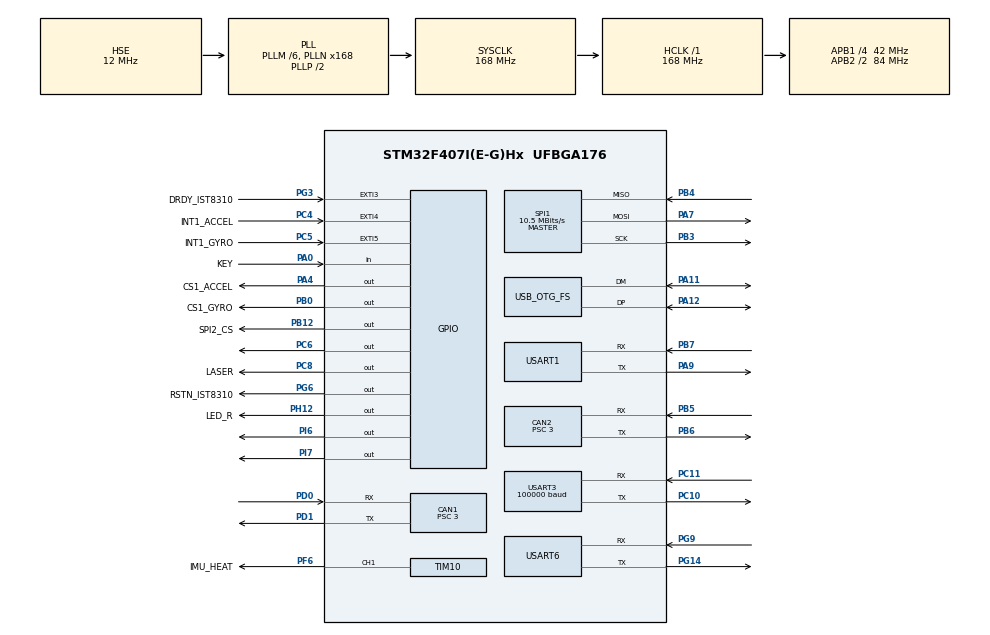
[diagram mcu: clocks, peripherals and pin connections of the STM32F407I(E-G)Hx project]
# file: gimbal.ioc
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CAN1.ABOM=ENABLE
CAN1.BS1=CAN_BS1_10TQ
CAN1.BS2=CAN_BS2_3TQ
CAN1.CalculateBaudRate=1000000
CAN1.CalculateTimeBit=1000
CAN1.CalculateTimeQuantum=71.42857142857143
CAN1.Prescaler=3
CAN2.ABOM=ENABLE
CAN2.BS1=CAN_BS1_10TQ
CAN2.BS2=CAN_BS2_3TQ
CAN2.CalculateBaudRate=1000000
CAN2.CalculateTimeBit=1000
CAN2.CalculateTimeQuantum=71.42857142857143
CAN2.Prescaler=3
Dma.Request0=SPI1_RX
Dma.Request1=SPI1_TX
Dma.Request2=USART3_RX
Dma.Request3=USART6_RX
Dma.Request4=USART6_TX
Dma.Request5=USART1_RX
Dma.Request6=USART1_TX
Dma.SPI1_RX.0.Direction=DMA_PERIPH_TO_MEMORY
Dma.SPI1_RX.0.FIFOMode=DMA_FIFOMODE_DISABLE
Dma.SPI1_RX.0.Instance=DMA2_Stream0
Dma.SPI1_RX.0.MemDataAlignment=DMA_MDATAALIGN_BYTE
Dma.SPI1_RX.0.MemInc=DMA_MINC_ENABLE
Dma.SPI1_RX.0.Mode=DMA_NORMAL
Dma.SPI1_RX.0.PeriphDataAlignment=DMA_PDATAALIGN_BYTE
Dma.SPI1_RX.0.PeriphInc=DMA_PINC_DISABLE
Dma.SPI1_RX.0.Priority=DMA_PRIORITY_VERY_HIGH
Dma.SPI1_TX.1.Direction=DMA_MEMORY_TO_PERIPH
Dma.SPI1_TX.1.FIFOMode=DMA_FIFOMODE_DISABLE
Dma.SPI1_TX.1.Instance=DMA2_Stream3
Dma.SPI1_TX.1.MemDataAlignment=DMA_MDATAALIGN_BYTE
Dma.SPI1_TX.1.MemInc=DMA_MINC_ENABLE
Dma.SPI1_TX.1.Mode=DMA_NORMAL
Dma.SPI1_TX.1.PeriphDataAlignment=DMA_PDATAALIGN_BYTE
Dma.SPI1_TX.1.PeriphInc=DMA_PINC_DISABLE
Dma.SPI1_TX.1.Priority=DMA_PRIORITY_HIGH
Dma.USART1_RX.5.Direction=DMA_PERIPH_TO_MEMORY
Dma.USART1_RX.5.FIFOMode=DMA_FIFOMODE_DISABLE
Dma.USART1_RX.5.Instance=DMA2_Stream2
Dma.USART1_RX.5.MemDataAlignment=DMA_MDATAALIGN_BYTE
Dma.USART1_RX.5.MemInc=DMA_MINC_ENABLE
Dma.USART1_RX.5.Mode=DMA_CIRCULAR
Dma.USART1_RX.5.PeriphDataAlignment=DMA_PDATAALIGN_BYTE
Dma.USART1_RX.5.PeriphInc=DMA_PINC_DISABLE
Dma.USART1_RX.5.Priority=DMA_PRIORITY_HIGH
Dma.USART1_TX.6.Direction=DMA_MEMORY_TO_PERIPH
Dma.USART1_TX.6.FIFOMode=DMA_FIFOMODE_DISABLE
Dma.USART1_TX.6.Instance=DMA2_Stream7
Dma.USART1_TX.6.MemDataAlignment=DMA_MDATAALIGN_BYTE
Dma.USART1_TX.6.MemInc=DMA_MINC_ENABLE
Dma.USART1_TX.6.Mode=DMA_NORMAL
Dma.USART1_TX.6.PeriphDataAlignment=DMA_PDATAALIGN_BYTE
Dma.USART1_TX.6.PeriphInc=DMA_PINC_DISABLE
Dma.USART1_TX.6.Priority=DMA_PRIORITY_HIGH
Dma.USART3_RX.2.Direction=DMA_PERIPH_TO_MEMORY
Dma.USART3_RX.2.FIFOMode=DMA_FIFOMODE_DISABLE
Dma.USART3_RX.2.Instance=DMA1_Stream1
Dma.USART3_RX.2.MemDataAlignment=DMA_MDATAALIGN_BYTE
Dma.USART3_RX.2.MemInc=DMA_MINC_ENABLE
Dma.USART3_RX.2.Mode=DMA_NORMAL
Dma.USART3_RX.2.PeriphDataAlignment=DMA_PDATAALIGN_BYTE
Dma.USART3_RX.2.PeriphInc=DMA_PINC_DISABLE
Dma.USART3_RX.2.Priority=DMA_PRIORITY_LOW
Dma.USART6_RX.3.Direction=DMA_PERIPH_TO_MEMORY
Dma.USART6_RX.3.FIFOMode=DMA_FIFOMODE_DISABLE
Dma.USART6_RX.3.Instance=DMA2_Stream1
Dma.USART6_RX.3.MemDataAlignment=DMA_MDATAALIGN_BYTE
Dma.USART6_RX.3.MemInc=DMA_MINC_ENABLE
Dma.USART6_RX.3.Mode=DMA_NORMAL
Dma.USART6_RX.3.PeriphDataAlignment=DMA_PDATAALIGN_BYTE
Dma.USART6_RX.3.PeriphInc=DMA_PINC_DISABLE
Dma.USART6_RX.3.Priority=DMA_PRIORITY_VERY_HIGH
Dma.USART6_TX.4.Direction=DMA_MEMORY_TO_PERIPH
Dma.USART6_TX.4.FIFOMode=DMA_FIFOMODE_DISABLE
Dma.USART6_TX.4.Instance=DMA2_Stream6
Dma.USART6_TX.4.MemDataAlignment=DMA_MDATAALIGN_BYTE
Dma.USART6_TX.4.MemInc=DMA_MINC_ENABLE
Dma.USART6_TX.4.Mode=DMA_NORMAL
Dma.USART6_TX.4.PeriphDataAlignment=DMA_PDATAALIGN_BYTE
Dma.USART6_TX.4.PeriphInc=DMA_PINC_DISABLE
Dma.USART6_TX.4.Priority=DMA_PRIORITY_VERY_HIGH
FREERTOS.INCLUDE_eTaskGetState=0
FREERTOS.INCLUDE_pcTaskGetTaskName=0
FREERTOS.INCLUDE_uxTaskGetStackHighWaterMark=1
FREERTOS.INCLUDE_vTaskCleanUpResources=0
FREERTOS.INCLUDE_vTaskDelayUntil=0
FREERTOS.INCLUDE_xEventGroupSetBitFromISR=0
FREERTOS.INCLUDE_xQueueGetMutexHolder=0
FREERTOS.INCLUDE_xSemaphoreGetMutexHolder=0
FREERTOS.INCLUDE_xTaskAbortDelay=0
FREERTOS.INCLUDE_xTaskGetCurrentTaskHandle=0
FREERTOS.INCLUDE_xTaskGetHandle=0
FREERTOS.INCLUDE_xTimerPendFunctionCall=0
FREERTOS.Tasks01=gimbalTask,2,1024,gimbal_task,As weak,NULL,Dynamic,NULL,NULL;INSTask,1,1024,StartINSTask,Default,NULL,Dynamic,NULL,NULL;chassisTask,1,512,chassis_task,As weak,NULL,Dynamic,NULL,NULL;current_send,1,256,send_current_task,As weak,NULL,Dynamic,NULL,NULL;REFEREETask,1,1024,REFEREE_Task,As weak,NULL,Dynamic,NULL,NULL;tirggertask,1,512,tirgger_task,As weak,NULL,Dynamic,NULL,NULL;detect_task,1,256,DETECT_task,As weak,NULL,Dynamic,NULL,NULL;VOFATask,1,256,StartVOFATask,As weak,NULL,Dynamic,NULL,NULL;myTask09,1,512,Transmit_Data_Task,As weak,NULL,Dynamic,NULL,NULL;UI_TASK,1,1024,UI_Task,As weak,NULL,Dynamic,NULL,NULL;NavigationTask,1,512,navigation_task,As weak,NULL,Dynamic,NULL,NULL
FREERTOS.configTOTAL_HEAP_SIZE=29000
FREERTOS.configUSE_STATS_FORMATTING_FUNCTIONS=1
FREERTOS.configUSE_TIMERS=0
FREERTOS.configUSE_TRACE_FACILITY=1
Mcu.Family=STM32F4
Mcu.Name=STM32F407I(E-G)Hx
Mcu.Package=UFBGA176
NVIC.CAN1_RX0_IRQn=true\:5\:0\:false\:false\:true\:true\:true\:true\:true
NVIC.CAN1_TX_IRQn=true\:5\:0\:false\:false\:true\:true\:true\:true\:true
NVIC.CAN2_RX1_IRQn=true\:5\:0\:false\:false\:true\:true\:true\:true\:true
NVIC.CAN2_TX_IRQn=true\:5\:0\:false\:false\:true\:true\:true\:true\:true
NVIC.DMA1_Stream1_IRQn=true\:5\:0\:false\:false\:true\:true\:false\:true\:true
NVIC.DMA2_Stream0_IRQn=true\:5\:0\:false\:false\:true\:true\:false\:true\:true
NVIC.DMA2_Stream1_IRQn=true\:5\:0\:false\:false\:true\:true\:false\:true\:true
NVIC.DMA2_Stream2_IRQn=true\:5\:0\:false\:false\:true\:true\:false\:true\:true
NVIC.DMA2_Stream3_IRQn=true\:5\:0\:false\:false\:true\:true\:false\:true\:true
NVIC.DMA2_Stream6_IRQn=true\:5\:0\:false\:false\:true\:true\:false\:true\:true
NVIC.DMA2_Stream7_IRQn=true\:5\:0\:false\:false\:true\:true\:false\:true\:true
NVIC.EXTI3_IRQn=true\:5\:0\:false\:false\:true\:true\:true\:true\:true
NVIC.EXTI4_IRQn=true\:5\:0\:false\:false\:true\:true\:true\:true\:true
NVIC.EXTI9_5_IRQn=true\:5\:0\:false\:false\:true\:true\:true\:true\:true
NVIC.OTG_FS_IRQn=true\:5\:0\:false\:false\:true\:true\:false\:true\:true
NVIC.PriorityGroup=NVIC_PRIORITYGROUP_4
NVIC.TIM2_IRQn=true\:15\:0\:false\:false\:true\:false\:false\:true\:true
NVIC.TimeBase=TIM2_IRQn
NVIC.TimeBaseIP=TIM2
NVIC.USART1_IRQn=true\:5\:0\:false\:false\:true\:true\:true\:true\:true
NVIC.USART3_IRQn=true\:5\:0\:false\:false\:false\:true\:true\:true\:true
NVIC.USART6_IRQn=true\:5\:0\:false\:false\:false\:true\:true\:true\:true
PA0-WKUP.GPIO_Label=KEY
PA0-WKUP.GPIO_PuPd=GPIO_PULLUP
PA0-WKUP.Signal=GPIO_Input
PA11.Mode=Device_Only
PA11.Signal=USB_OTG_FS_DM
PA12.Mode=Device_Only
PA12.Signal=USB_OTG_FS_DP
PA13.Mode=Serial_Wire
PA13.Signal=SYS_JTMS-SWDIO
PA14.Mode=Serial_Wire
PA14.Signal=SYS_JTCK-SWCLK
PA4.GPIO_Label=CS1_ACCEL
PA4.GPIO_ModeDefaultOutputPP=GPIO_MODE_OUTPUT_PP
PA4.GPIO_PuPd=GPIO_PULLUP
PA4.GPIO_Speed=GPIO_SPEED_FREQ_HIGH
PA4.PinState=GPIO_PIN_SET
PA4.Signal=GPIO_Output
PA7.GPIO_PuPd=GPIO_PULLUP
PA7.Mode=Full_Duplex_Master
PA7.Signal=SPI1_MOSI
PA9.Mode=Asynchronous
PA9.Signal=USART1_TX
PB0.GPIO_Label=CS1_GYRO
PB0.GPIO_PuPd=GPIO_PULLUP
PB0.GPIO_Speed=GPIO_SPEED_FREQ_HIGH
PB0.PinState=GPIO_PIN_SET
PB0.Signal=GPIO_Output
PB12.GPIO_Label=SPI2_CS
PB12.GPIO_PuPd=GPIO_PULLUP
PB12.GPIO_Speed=GPIO_SPEED_FREQ_MEDIUM
PB12.PinState=GPIO_PIN_SET
PB12.Signal=GPIO_Output
PB3.GPIO_PuPd=GPIO_PULLUP
PB3.Mode=Full_Duplex_Master
PB3.Signal=SPI1_SCK
PB4.GPIO_PuPd=GPIO_PULLUP
PB4.Mode=Full_Duplex_Master
PB4.Signal=SPI1_MISO
PB5.Mode=CAN_Activate
PB5.Signal=CAN2_RX
PB6.Mode=CAN_Activate
PB6.Signal=CAN2_TX
PB7.Mode=Asynchronous
PB7.Signal=USART1_RX
PC10.Mode=Asynchronous
PC10.Signal=USART3_TX
PC11.Mode=Asynchronous
PC11.Signal=USART3_RX
PC4.GPIO_Label=INT1_ACCEL
PC4.GPIO_PuPd=GPIO_PULLUP
PC4.Signal=GPXTI4
PC5.GPIO_Label=INT1_GYRO
PC5.GPIO_PuPd=GPIO_PULLUP
PC5.Signal=GPXTI5
PC6.PinState=GPIO_PIN_SET
PC6.Signal=GPIO_Output
PC8.GPIO_Label=LASER
PC8.Signal=GPIO_Output
PD0.Mode=CAN_Activate
PD0.Signal=CAN1_RX
PD1.Mode=CAN_Activate
PD1.Signal=CAN1_TX
PF6.GPIO_Label=IMU_HEAT
PF6.GPIO_PuPd=GPIO_PULLUP
PF6.GPIO_Speed=GPIO_SPEED_FREQ_HIGH
PF6.Signal=S_TIM10_CH1
PG14.Mode=Asynchronous
PG14.Signal=USART6_TX
PG3.GPIO_Label=DRDY_IST8310
PG3.GPIO_PuPd=GPIO_PULLUP
PG3.Signal=GPXTI3
PG6.GPIO_Label=RSTN_IST8310
PG6.GPIO_PuPd=GPIO_PULLUP
PG6.GPIO_Speed=GPIO_SPEED_FREQ_MEDIUM
PG6.PinState=GPIO_PIN_SET
PG6.Signal=GPIO_Output
PG9.Mode=Asynchronous
PG9.Signal=USART6_RX
PH0-OSC_IN.Mode=HSE-External-Oscillator
PH0-OSC_IN.Signal=RCC_OSC_IN
PH1-OSC_OUT.Mode=HSE-External-Oscillator
PH1-OSC_OUT.Signal=RCC_OSC_OUT
PH12.GPIO_Label=LED_R
PH12.Signal=GPIO_Output
PI6.GPIO_PuPd=GPIO_PULLUP
PI6.GPIO_Speed=GPIO_SPEED_FREQ_HIGH
PI6.PinState=GPIO_PIN_SET
PI6.Signal=GPIO_Output
PI7.GPIO_PuPd=GPIO_PULLUP
PI7.PinState=GPIO_PIN_SET
PI7.Signal=GPIO_Output
ProjectManager.HeapSize=0x2000
ProjectManager.StackSize=0x2000
ProjectManager.TargetToolchain=MDK-ARM V5
RCC.48MHZClocksFreq_Value=48000000
RCC.AHBFreq_Value=168000000
RCC.APB1CLKDivider=RCC_HCLK_DIV4
RCC.APB1Freq_Value=42000000
RCC.APB1TimFreq_Value=84000000
RCC.APB2CLKDivider=RCC_HCLK_DIV2
RCC.APB2Freq_Value=84000000
RCC.APB2TimFreq_Value=168000000
RCC.CortexFreq_Value=168000000
RCC.HCLKFreq_Value=168000000
RCC.HSE_VALUE=12000000
RCC.HSI_VALUE=16000000
RCC.LSE_VALUE=32768
RCC.PLLM=6
RCC.PLLN=168
RCC.PLLQ=7
RCC.RCC_RTC_Clock_SourceVirtual=RCC_RTCCLKSOURCE_HSE_DIV30
RCC.RCC_RTC_Clock_Source_FROM_HSE=RCC_RTCCLKSOURCE_HSE_DIV30
RCC.SYSCLKFreq_VALUE=168000000
RCC.SYSCLKSource=RCC_SYSCLKSOURCE_PLLCLK
RCC.VCOOutputFreq_Value=336000000
RTC.AsynchPrediv=124
RTC.SynchPrediv=3199
SH.S_TIM10_CH1.0=TIM10_CH1,PWM Generation1 CH1
SPI1.BaudRatePrescaler=SPI_BAUDRATEPRESCALER_8
SPI1.CLKPhase=SPI_PHASE_2EDGE
SPI1.CLKPolarity=SPI_POLARITY_HIGH
SPI1.CalculateBaudRate=10.5 MBits/s
SPI1.Direction=SPI_DIRECTION_2LINES
SPI1.Mode=SPI_MODE_MASTER
SPI1.VirtualType=VM_MASTER
TIM10.Channel=TIM_CHANNEL_1
TIM10.Period=1999
TIM10.Prescaler=83
USART1.VirtualMode=VM_ASYNC
USART3.BaudRate=100000
USART3.Parity=PARITY_EVEN
USART3.VirtualMode=VM_ASYNC
USART6.VirtualMode=VM_ASYNC
USB_DEVICE.CLASS_NAME_FS=CDC
USB_DEVICE.VirtualMode-CDC_FS=Cdc
USB_DEVICE.VirtualModeFS=Cdc_FS
USB_OTG_FS.VirtualMode=Device_Only
VP_FREERTOS_VS_CMSIS_V1.Mode=CMSIS_V1
VP_RTC_VS_RTC_Activate.Mode=RTC_Enabled
VP_SYS_VS_tim2.Mode=TIM2
VP_TIM10_VS_ClockSourceINT.Mode=Enable_Timer
VP_USB_DEVICE_VS_USB_DEVICE_CDC_FS.Mode=CDC_FS
board=custom

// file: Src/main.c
/* USER CODE BEGIN Header */
/**
  ******************************************************************************
  * @file           : main.c
  * @brief          : Main program body
  ******************************************************************************
  * @attention
  *
  * Copyright (c) 2025 STMicroelectronics.
  * All rights reserved.
  *
  * This software is licensed under terms that can be found in the LICENSE file
  * in the root directory of this software component.
  * If no LICENSE file comes with this software, it is provided AS-IS.
  *
  ******************************************************************************
  */
/* USER CODE END Header */
#include "main.h"
#include "cmsis_os.h"
#include "can.h"
#include "dma.h"
#include "rtc.h"
#include "spi.h"
#include "tim.h"
#include "usart.h"
#include "usb_device.h"
#include "gpio.h"

/* USER CODE BEGIN Includes */
#include "BMI088driver.h"
#include "bsp_dwt.h"
#include "arm_math.h"
#include "bsp_can.h"
#include "CAN_receive.h"
/* USER CODE END Includes */

void SystemClock_Config(void);
void MX_FREERTOS_Init(void);

int main(void)
{

  /* MCU Configuration--------------------------------------------------------*/

  /* Reset of all peripherals, Initializes the Flash interface and the Systick. */
  HAL_Init();

  /* Configure the system clock */
  SystemClock_Config();

  /* Initialize all configured peripherals */
  MX_GPIO_Init();
  MX_DMA_Init();
  MX_SPI1_Init();
  MX_TIM10_Init();
  MX_CAN1_Init();
  MX_CAN2_Init();
  MX_USART3_UART_Init();
  MX_USART6_UART_Init();
  MX_USART1_UART_Init();
  MX_RTC_Init();
  /* USER CODE BEGIN 2 */
	MX_USB_DEVICE_Init();
	can1_user_init();
	can2_user_init();
	HAL_GPIO_WritePin(GPIOH,LED_R_Pin,GPIO_PIN_SET);
	DWT_Init(168);
    while (BMI088_init(&hspi1, 1) != BMI088_NO_ERROR)
        ;

  /* USER CODE END 2 */

  /* Call init function for freertos objects (in cmsis_os2.c) */
  MX_FREERTOS_Init();

  /* Start scheduler */
  osKernelStart();

  /* We should never get here as control is now taken by the scheduler */

  /* Infinite loop */
  while (1)
  {

  }
}

void SystemClock_Config(void)
{
  RCC_OscInitTypeDef RCC_OscInitStruct = {0};
  RCC_ClkInitTypeDef RCC_ClkInitStruct = {0};

  /** Configure the main internal regulator output voltage
  */
  __HAL_RCC_PWR_CLK_ENABLE();
  __HAL_PWR_VOLTAGESCALING_CONFIG(PWR_REGULATOR_VOLTAGE_SCALE1);

  /** Initializes the RCC Oscillators according to the specified parameters
  * in the RCC_OscInitTypeDef structure.
  */
  RCC_OscInitStruct.OscillatorType = RCC_OSCILLATORTYPE_HSE;
  RCC_OscInitStruct.HSEState = RCC_HSE_ON;
  RCC_OscInitStruct.PLL.PLLState = RCC_PLL_ON;
  RCC_OscInitStruct.PLL.PLLSource = RCC_PLLSOURCE_HSE;
  RCC_OscInitStruct.PLL.PLLM = 6;
  RCC_OscInitStruct.PLL.PLLN = 168;
  RCC_OscInitStruct.PLL.PLLP = RCC_PLLP_DIV2;
  RCC_OscInitStruct.PLL.PLLQ = 7;
  if (HAL_RCC_OscConfig(&RCC_OscInitStruct) != HAL_OK)
  {
    Error_Handler();
  }

  /** Initializes the CPU, AHB and APB buses clocks
  */
  RCC_ClkInitStruct.ClockType = RCC_CLOCKTYPE_HCLK|RCC_CLOCKTYPE_SYSCLK
                              |RCC_CLOCKTYPE_PCLK1|RCC_CLOCKTYPE_PCLK2;
  RCC_ClkInitStruct.SYSCLKSource = RCC_SYSCLKSOURCE_PLLCLK;
  RCC_ClkInitStruct.AHBCLKDivider = RCC_SYSCLK_DIV1;
  RCC_ClkInitStruct.APB1CLKDivider = RCC_HCLK_DIV4;
  RCC_ClkInitStruct.APB2CLKDivider = RCC_HCLK_DIV2;

  if (HAL_RCC_ClockConfig(&RCC_ClkInitStruct, FLASH_LATENCY_5) != HAL_OK)
  {
    Error_Handler();
  }
}

void HAL_TIM_PeriodElapsedCallback(TIM_HandleTypeDef *htim)
{
  if (htim->Instance == TIM2)
  {
    HAL_IncTick();
  }
}

void Error_Handler(void)
{
  __disable_irq();
  while (1)
  {
  }
}

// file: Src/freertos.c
/* USER CODE BEGIN Header */
/**
  ******************************************************************************
  * File Name          : freertos.c
  * Description        : Code for freertos applications
  ******************************************************************************
  * @attention
  *
  * Copyright (c) 2025 STMicroelectronics.
  * All rights reserved.
  *
  * This software is licensed under terms that can be found in the LICENSE file
  * in the root directory of this software component.
  * If no LICENSE file comes with this software, it is provided AS-IS.
  *
  ******************************************************************************
  */
/* USER CODE END Header */

#include "FreeRTOS.h"
#include "task.h"
#include "main.h"
#include "cmsis_os.h"

/* USER CODE BEGIN Includes */
#include "ins_task.h"
/* USER CODE END Includes */

osThreadId gimbalTaskHandle;
osThreadId INSTaskHandle;
osThreadId chassisTaskHandle;
osThreadId current_sendHandle;
osThreadId REFEREETaskHandle;
osThreadId tirggertaskHandle;
osThreadId detect_taskHandle;
osThreadId VOFATaskHandle;
osThreadId myTask09Handle;
osThreadId UI_TASKHandle;
osThreadId NavigationTaskHandle;

void gimbal_task(void const * argument);
void StartINSTask(void const * argument);
void chassis_task(void const * argument);
void send_current_task(void const * argument);
void REFEREE_Task(void const * argument);
void tirgger_task(void const * argument);
void DETECT_task(void const * argument);
void StartVOFATask(void const * argument);
void Transmit_Data_Task(void const * argument);
void UI_Task(void const * argument);
void navigation_task(void const * argument);

extern void MX_USB_DEVICE_Init(void);
void MX_FREERTOS_Init(void); /* (MISRA C 2004 rule 8.1) */

/* GetIdleTaskMemory prototype (linked to static allocation support) */
void vApplicationGetIdleTaskMemory( StaticTask_t **ppxIdleTaskTCBBuffer, StackType_t **ppxIdleTaskStackBuffer, uint32_t *pulIdleTaskStackSize );

/* USER CODE BEGIN GET_IDLE_TASK_MEMORY */
static StaticTask_t xIdleTaskTCBBuffer;
static StackType_t xIdleStack[configMINIMAL_STACK_SIZE];

void vApplicationGetIdleTaskMemory( StaticTask_t **ppxIdleTaskTCBBuffer, StackType_t **ppxIdleTaskStackBuffer, uint32_t *pulIdleTaskStackSize )
{
  *ppxIdleTaskTCBBuffer = &xIdleTaskTCBBuffer;
  *ppxIdleTaskStackBuffer = &xIdleStack[0];
  *pulIdleTaskStackSize = configMINIMAL_STACK_SIZE;
  /* place for user code */
}
/* USER CODE END GET_IDLE_TASK_MEMORY */

void MX_FREERTOS_Init(void) {

  /* Create the thread(s) */
  /* definition and creation of gimbalTask */
  osThreadDef(gimbalTask, gimbal_task, osPriorityHigh, 0, 1024);
  gimbalTaskHandle = osThreadCreate(osThread(gimbalTask), NULL);

  /* definition and creation of INSTask */
  osThreadDef(INSTask, StartINSTask, osPriorityAboveNormal, 0, 1024);
  INSTaskHandle = osThreadCreate(osThread(INSTask), NULL);

  /* definition and creation of chassisTask */
  osThreadDef(chassisTask, chassis_task, osPriorityAboveNormal, 0, 512);
  chassisTaskHandle = osThreadCreate(osThread(chassisTask), NULL);

  /* definition and creation of current_send */
  osThreadDef(current_send, send_current_task, osPriorityAboveNormal, 0, 256);
  current_sendHandle = osThreadCreate(osThread(current_send), NULL);

  /* definition and creation of REFEREETask */
  osThreadDef(REFEREETask, REFEREE_Task, osPriorityAboveNormal, 0, 1024);
  REFEREETaskHandle = osThreadCreate(osThread(REFEREETask), NULL);

  /* definition and creation of tirggertask */
  osThreadDef(tirggertask, tirgger_task, osPriorityAboveNormal, 0, 512);
  tirggertaskHandle = osThreadCreate(osThread(tirggertask), NULL);

  /* definition and creation of detect_task */
  osThreadDef(detect_task, DETECT_task, osPriorityAboveNormal, 0, 256);
  detect_taskHandle = osThreadCreate(osThread(detect_task), NULL);

  /* definition and creation of VOFATask */
  osThreadDef(VOFATask, StartVOFATask, osPriorityAboveNormal, 0, 256);
  VOFATaskHandle = osThreadCreate(osThread(VOFATask), NULL);

  /* definition and creation of myTask09 */
  osThreadDef(myTask09, Transmit_Data_Task, osPriorityAboveNormal, 0, 512);
  myTask09Handle = osThreadCreate(osThread(myTask09), NULL);

  /* definition and creation of UI_TASK */
  osThreadDef(UI_TASK, UI_Task, osPriorityAboveNormal, 0, 1024);
  UI_TASKHandle = osThreadCreate(osThread(UI_TASK), NULL);

  /* definition and creation of NavigationTask */
  osThreadDef(NavigationTask, navigation_task, osPriorityAboveNormal, 0, 512);
  NavigationTaskHandle = osThreadCreate(osThread(NavigationTask), NULL);

}

__weak void gimbal_task(void const * argument)
{
  /* init code for USB_DEVICE */
  MX_USB_DEVICE_Init();
  for(;;)
  {
    osDelay(1);
  }
}

void StartINSTask(void const * argument)
{
  /* USER CODE BEGIN StartINSTask */
  /* Infinite loop */
	INS_Init();
  for(;;)
  {

		INS_Task();
    osDelay(1);
  }
  /* USER CODE END StartINSTask */
}

__weak void chassis_task(void const * argument)
{
  for(;;)
  {
    osDelay(1);
  }
}

__weak void send_current_task(void const * argument)
{
  for(;;)
  {
    osDelay(1);
  }
}

__weak void REFEREE_Task(void const * argument)
{
  for(;;)
  {
    osDelay(1);
  }
}

__weak void tirgger_task(void const * argument)
{
  for(;;)
  {
    osDelay(1);
  }
}

__weak void DETECT_task(void const * argument)
{
  for(;;)
  {
    osDelay(1);
  }
}

__weak void StartVOFATask(void const * argument)
{
  for(;;)
  {
    osDelay(1);
  }
}

__weak void Transmit_Data_Task(void const * argument)
{
  /* USER CODE BEGIN Transmit_Data_Task */
//  /* Infinite loop */
//  for(;;)
//  {
//    osDelay(1);
//  }
  /* USER CODE END Transmit_Data_Task */
}

__weak void UI_Task(void const * argument)
{
  for(;;)
  {
    osDelay(1);
  }
}

__weak void navigation_task(void const * argument)
{
  for(;;)
  {
    osDelay(1);
  }
}
